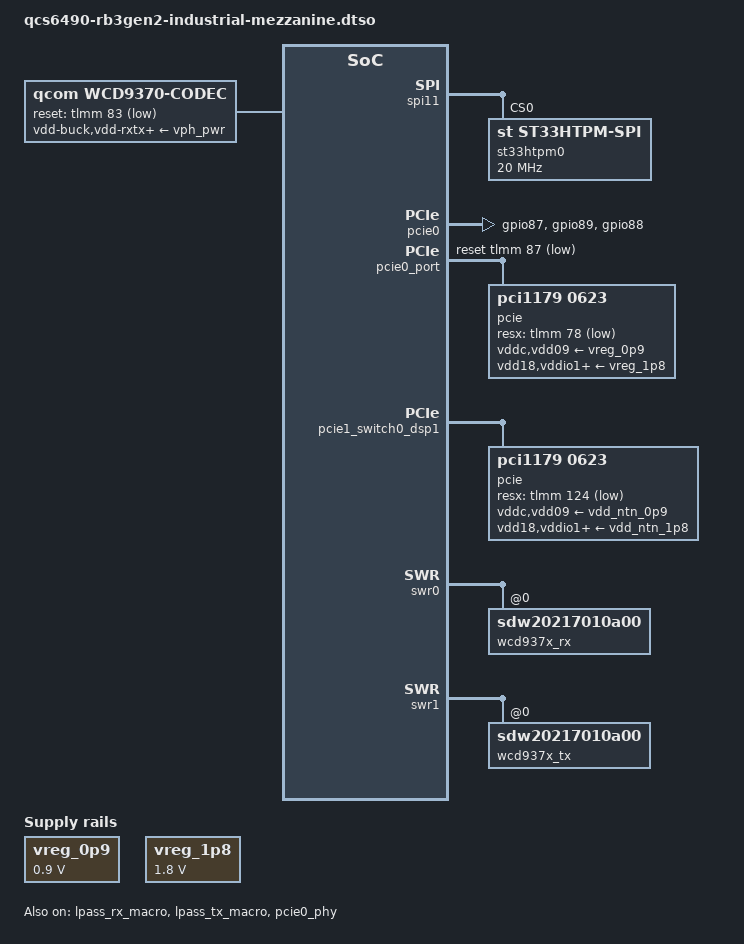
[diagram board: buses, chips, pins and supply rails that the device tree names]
// SPDX-License-Identifier: BSD-3-Clause
/*
 * Copyright (c) 2025, Qualcomm Innovation Center, Inc. All rights reserved.
*/

/dts-v1/;
/plugin/;
#include <dt-bindings/gpio/gpio.h>
#include <dt-bindings/sound/qcom,q6afe.h>
#include <dt-bindings/clock/qcom,gcc-sc7280.h>
#include <dt-bindings/pinctrl/qcom,pmic-gpio.h>

&{/} {

	wcd9370: audio-codec {
		compatible = "qcom,wcd9370-codec";

		pinctrl-0 = <&wcd_default>;
		pinctrl-names = "default";

		reset-gpios = <&tlmm 83 GPIO_ACTIVE_LOW>;
		vdd-buck-supply = <&vph_pwr>;
		vdd-rxtx-supply = <&vph_pwr>;
		vdd-px-supply = <&vph_pwr>;
		vdd-mic-bias-supply = <&vph_pwr>;
		qcom,micbias1-microvolt = <1800000>;
		qcom,micbias2-microvolt = <1800000>;
		qcom,micbias3-microvolt = <1800000>;
		qcom,micbias4-microvolt = <1800000>;
		qcom,hphl-jack-type-normally-closed = <1>;
		qcom,ground-jack-type-normally-closed = <1>;
		qcom,rx-device = <&wcd937x_rx>;
		qcom,tx-device = <&wcd937x_tx>;

		#sound-dai-cells = <1>;
	};

	vreg_0p9: regulator-vreg-0p9 {
		compatible = "regulator-fixed";
		regulator-name = "VREG_0P9";
		regulator-min-microvolt = <900000>;
		regulator-max-microvolt = <900000>;

		regulator-always-on;
		regulator-boot-on;
	};

	vreg_1p8: regulator-vreg-1p8 {
		compatible = "regulator-fixed";
		regulator-name = "VREG_1P8";
		regulator-min-microvolt = <1800000>;
		regulator-max-microvolt = <1800000>;

		regulator-always-on;
		regulator-boot-on;
	};
};

&remoteproc_wpss {
       status = "disabled";
};

&spi11 {
	#address-cells = <1>;
	#size-cells = <0>;
	status = "okay";

	st33htpm0: tpm@0 {
		compatible = "st,st33htpm-spi", "tcg,tpm_tis-spi";
		reg = <0>;
		spi-max-frequency = <20000000>;
	};
};

&lpass_rx_macro {
	status = "okay";
};

&lpass_tx_macro {
	status = "okay";
};

&pcie0 {
	pinctrl-0 = <&pcie0_reset_n>, <&pcie0_wake_n>, <&pcie0_clkreq_n>;
	pinctrl-names = "default";

	iommu-map = <0x0 &apps_smmu 0x1c00 0x1>,
		    <0x100 &apps_smmu 0x1c01 0x1>,
		    <0x208 &apps_smmu 0x1c04 0x1>,
		    <0x210 &apps_smmu 0x1c05 0x1>,
		    <0x218 &apps_smmu 0x1c06 0x1>,
		    <0x300 &apps_smmu 0x1c07 0x1>,
		    <0x400 &apps_smmu 0x1c08 0x1>,
		    <0x500 &apps_smmu 0x1c09 0x1>,
		    <0x501 &apps_smmu 0x1c10 0x1>;

	status = "okay";
};

&pcie0_phy {
	vdda-phy-supply = <&vreg_l10c_0p88>;
	vdda-pll-supply = <&vreg_l6b_1p2>;

	status = "okay";
};

&pcie0_port {
	reset-gpios = <&tlmm 87 GPIO_ACTIVE_LOW>;

	#address-cells = <3>;
	#size-cells = <2>;

	pcie@0,0 {
		compatible = "pci1179,0623";
		reg = <0x10000 0x0 0x0 0x0 0x0>;
		#address-cells = <3>;
		#size-cells = <2>;

		device_type = "pci";
		ranges;
		bus-range = <0x2 0xff>;

		vddc-supply = <&vreg_0p9>;
		vdd18-supply = <&vreg_1p8>;
		vdd09-supply = <&vreg_0p9>;
		vddio1-supply = <&vreg_1p8>;
		vddio2-supply = <&vreg_1p8>;
		vddio18-supply = <&vreg_1p8>;

		i2c-parent = <&i2c1 0x33>;

		resx-gpios = <&tlmm 78 GPIO_ACTIVE_LOW>;

		pinctrl-0 = <&pcie0_tc9563_resx_n>;
		pinctrl-names = "default";

		aspm-no-l0s;
		aspm-no-l1;

		pcie@1,0 {
			reg = <0x20800 0x0 0x0 0x0 0x0>;
			#address-cells = <3>;
			#size-cells = <2>;

			device_type = "pci";
			ranges;
			bus-range = <0x3 0xff>;

			aspm-no-l0s;
			aspm-no-l1;
		};

		pcie@2,0 {
			reg = <0x21000 0x0 0x0 0x0 0x0>;
			#address-cells = <3>;
			#size-cells = <2>;

			device_type = "pci";
			ranges;
			bus-range = <0x4 0xff>;

			aspm-no-l0s;
			aspm-no-l1;
		};

		pcie@3,0 {
			reg = <0x21800 0x0 0x0 0x0 0x0>;
			#address-cells = <3>;
			#size-cells = <2>;
			device_type = "pci";
			ranges;
			bus-range = <0x5 0xff>;

			pci@0,0 {
				reg = <0x50000 0x0 0x0 0x0 0x0>;
				#address-cells = <3>;
				#size-cells = <2>;
				device_type = "pci";
				ranges;
			};

			pci@0,1 {
				reg = <0x50100 0x0 0x0 0x0 0x0>;
				#address-cells = <3>;
				#size-cells = <2>;
				device_type = "pci";
				ranges;
			};
		};

	};
};

&pcie1 {
	iommu-map = <0x0 &apps_smmu 0x1c80 0x1>,
		    <0x100 &apps_smmu 0x1c81 0x1>,
		    <0x208 &apps_smmu 0x1c84 0x1>,
		    <0x210 &apps_smmu 0x1c85 0x1>,
		    <0x218 &apps_smmu 0x1c86 0x1>,
		    <0x300 &apps_smmu 0x1c87 0x1>,
		    <0x408 &apps_smmu 0x1c90 0x1>,
		    <0x410 &apps_smmu 0x1c91 0x1>,
		    <0x418 &apps_smmu 0x1c92 0x1>,
		    <0x500 &apps_smmu 0x1c93 0x1>,
		    <0x600 &apps_smmu 0x1c94 0x1>,
		    <0x700 &apps_smmu 0x1c95 0x1>,
		    <0x701 &apps_smmu 0x1c96 0x1>,
		    <0x800 &apps_smmu 0x1c97 0x1>,
		    <0x900 &apps_smmu 0x1c98 0x1>,
		    <0x901 &apps_smmu 0x1c99 0x1>;
};

&pcie1_switch0_dsp1 {
	#address-cells = <3>;
	#size-cells = <2>;

	pcie@0,0 {
		compatible = "pci1179,0623";
		reg = <0x30000 0x0 0x0 0x0 0x0>;
		#address-cells = <3>;
		#size-cells = <2>;

		device_type = "pci";
		ranges;
		bus-range = <0x2 0xff>;

		vddc-supply = <&vdd_ntn_0p9>;
		vdd18-supply = <&vdd_ntn_1p8>;
		vdd09-supply = <&vdd_ntn_0p9>;
		vddio1-supply = <&vdd_ntn_1p8>;
		vddio2-supply = <&vdd_ntn_1p8>;
		vddio18-supply = <&vdd_ntn_1p8>;

		i2c-parent = <&i2c1 0x77>;

		resx-gpios = <&tlmm 124 GPIO_ACTIVE_LOW>;

		pinctrl-0 = <&pcie1_tc9563_resx_n>;
		pinctrl-names = "default";

		aspm-no-l0s;
		aspm-no-l1;

		pcie@1,0 {
			reg = <0x40800 0x0 0x0 0x0 0x0>;
			#address-cells = <3>;
			#size-cells = <2>;

			device_type = "pci";
			ranges;
			bus-range = <0x3 0xff>;

			aspm-no-l0s;
			aspm-no-l1;
		};

		pcie@2,0 {
			reg = <0x41000 0x0 0x0 0x0 0x0>;
			#address-cells = <3>;
			#size-cells = <2>;

			device_type = "pci";
			ranges;
			bus-range = <0x4 0xff>;

			aspm-no-l0s;
			aspm-no-l1;
		};

		pcie@3,0 {
			reg = <0x41800 0x0 0x0 0x0 0x0>;
			#address-cells = <3>;
			#size-cells = <2>;
			device_type = "pci";
			ranges;
			bus-range = <0x5 0xff>;

			pci@0,0 {
				reg = <0x50000 0x0 0x0 0x0 0x0>;
				#address-cells = <3>;
				#size-cells = <2>;
				device_type = "pci";
				ranges;
			};

			pci@0,1 {
				reg = <0x50100 0x0 0x0 0x0 0x0>;
				#address-cells = <3>;
				#size-cells = <2>;
				device_type = "pci";
				ranges;
			};
		};
	};
};

&sound {
	model = "qcs6490-rb3gen2-ia-snd-card";
	audio-routing = "SpkrLeft IN", "WSA_SPK1 OUT",
		"SpkrRight IN", "WSA_SPK2 OUT",
		"IN1_HPHL", "HPHL_OUT",
		"IN2_HPHR", "HPHR_OUT",
		"AMIC2", "MIC BIAS2",
		"TX SWR_ADC1", "ADC2_OUTPUT",
		"VA DMIC0", "vdd-micb",
		"VA DMIC1", "vdd-micb",
		"VA DMIC2", "vdd-micb",
		"VA DMIC3", "vdd-micb";

	wcd-capture-dai-link {
		link-name = "WCD Capture";

		codec {
			sound-dai = <&wcd9370 1>, <&swr1 0>, <&lpass_tx_macro 0>;
		};

		cpu {
			sound-dai = <&q6apmbedai TX_CODEC_DMA_TX_3>;
		};

		platform {
			sound-dai = <&q6apm>;
		};
	};

	wcd-playback-dai-link {
		link-name = "WCD Playback";

		codec {
			sound-dai = <&wcd9370 0>, <&swr0 0>, <&lpass_rx_macro 0>;
		};

		cpu {
			sound-dai = <&q6apmbedai RX_CODEC_DMA_RX_0>;
		};

		platform {
			sound-dai = <&q6apm>;
		};
	};
};

&swr0 {
	status = "okay";

	wcd937x_rx: codec@0,4 {
		compatible = "sdw20217010a00";
		reg = <0 4>;

		/*
		* WCD9370 RX Port 1 (HPH_L/R)       <==>    SWR1 Port 1 (HPH_L/R)
		* WCD9370 RX Port 2 (CLSH)          <==>    SWR1 Port 2 (CLSH)
		* WCD9370 RX Port 3 (COMP_L/R)      <==>    SWR1 Port 3 (COMP_L/R)
		* WCD9370 RX Port 4 (LO)            <==>    SWR1 Port 4 (LO)
		* WCD9370 RX Port 5 (DSD_L/R)       <==>    SWR1 Port 5 (DSD)
		*/
		qcom,rx-port-mapping = <1 2 3 4 5>;

		/*
		* Static channels mapping between slave and master rx port channels.
		* In the order of slave port channels, which is
		* hph_l, hph_r, clsh, comp_l, comp_r, lo, dsd_r, dsd_l.
		*/
		qcom,rx-channel-mapping = /bits/ 8 <1 2 1 1 2 1 1 2>;
	};
};

&swr1 {
	status = "okay";
		wcd937x_tx: codec@0,3 {
		compatible = "sdw20217010a00";
		reg = <0 3>;

		/*
		* WCD9370 TX Port 1 (ADC1)               <=> SWR2 Port 2
		* WCD9370 TX Port 2 (ADC2, 3)            <=> SWR2 Port 2
		* WCD9370 TX Port 3 (DMIC0,1,2,3 & MBHC) <=> SWR2 Port 3
		* WCD9370 TX Port 4 (DMIC4,5,6,7)        <=> SWR2 Port 4
		*/
		qcom,tx-port-mapping = <1 1 2 3>;

		/*
		* Static channel mapping between slave and master tx port channels.
		* In the order of slave port channels which is adc1, adc2, adc3,
		* mic0, dmic1, mbhc, dmic2, dmic3, dmci4, dmic5, dmic6, dmic7.
		*/
		qcom,tx-channel-mapping = /bits/ 8 <1 2 1 1 2 3 3 4 1 2 3 4>;
	};
};

&tlmm {
	pcie0_tc9563_resx_n: pcie0-tc9563-resx-state {
		pins = "gpio78";
		function = "gpio";
		bias-disable;
		input-disable;
		output-enable;
	};

	pcie0_reset_n: pcie0-reset-n-state {
		pins = "gpio87";
		function = "gpio";
		drive-strength = <16>;
		output-low;
		bias-disable;
	};

	pcie0_clkreq_n: pcie0-clkreq-n-state {
		pins = "gpio88";
		function = "gpio";
		drive-strength = <2>;
		bias-pull-up;
	};

	pcie0_wake_n: pcie0-wake-n-state {
		pins = "gpio89";
		function = "gpio";
		drive-strength = <2>;
		bias-pull-up;
	};

	pcie1_tc9563_resx_n: pcie1-tc9563-resx-state {
		pins = "gpio124";
		function = "gpio";
		bias-disable;
		input-disable;
		output-enable;
	};

	wcd_default: wcd-reset-n-active-state {
		pins = "gpio83";
		function = "gpio";
		drive-strength = <16>;
		bias-disable;
	};
};

&wifi {
       status = "disabled";
};

&uart7 {
	status = "disabled";
};
